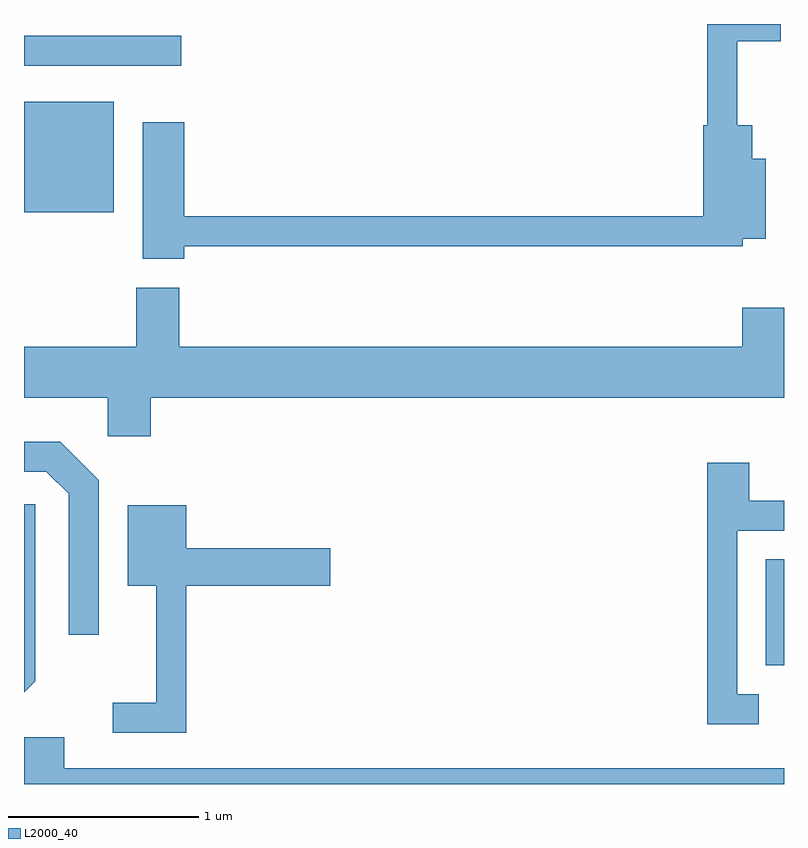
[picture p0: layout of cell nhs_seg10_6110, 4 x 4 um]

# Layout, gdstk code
import gdstk
lib = gdstk.Library(unit=1e-6, precision=1e-09)
def R(c, l, rs):  # rectangles x0, y0, x1, y1
    for r in rs: c.add(gdstk.rectangle(r[:2], r[2:], *l))
def P(c, l, *ps):  # polygons
    for p in ps: c.add(gdstk.Polygon(p, *l))
L2000_40 = (2000, 40)

nhs_seg10_6110 = lib.new_cell('nhs_seg10_6110')
R(nhs_seg10_6110, L2000_40, [(369.516,2139.146,369.611,2139.704), (365.611,2141.531,366.084,2142.114), (365.611,2142.301,366.438,2142.459)])
P(nhs_seg10_6110, L2000_40, [(366.454,2141.351),(369.394,2141.351),(369.394,2141.391),(369.514,2141.391),(369.514,2141.814),(369.444,2141.814),(369.444,2141.989),(369.364,2141.989),(369.364,2142.431),(369.593,2142.431),(369.593,2142.522),(369.206,2142.522),(369.206,2141.989),(369.186,2141.989),(369.186,2141.509),(366.454,2141.509),(366.454,2142.004),(366.236,2142.004),(366.236,2141.286),(366.454,2141.286)],
  [(366.279,2140.556),(369.611,2140.556),(369.611,2141.029),(369.391,2141.029),(369.391,2140.824),(366.429,2140.824),(366.429,2141.134),(366.201,2141.134),(366.201,2140.824),(365.611,2140.824),(365.611,2140.556),(366.051,2140.556),(366.051,2140.351),(366.279,2140.351)],
  [(366.004,2140.122),(365.802,2140.324),(365.611,2140.324),(365.611,2140.166),(365.729,2140.166),(365.846,2140.049),(365.846,2139.308),(366.004,2139.308)],
  [(369.478,2138.994),(369.364,2138.994),(369.364,2139.856),(369.611,2139.856),(369.611,2140.014),(369.429,2140.014),(369.429,2140.214),(369.206,2140.214),(369.206,2138.836),(369.478,2138.836)],
  [(365.669,2139.064),(365.669,2139.994),(365.611,2139.994),(365.611,2139.006)],
  [(366.464,2139.566),(367.224,2139.566),(367.224,2139.764),(366.464,2139.764),(366.464,2139.989),(366.156,2139.989),(366.156,2139.566),(366.306,2139.566),(366.306,2138.949),(366.078,2138.949),(366.078,2138.791),(366.464,2138.791)],
  [(369.611,2138.604),(365.824,2138.604),(365.824,2138.769),(365.611,2138.769),(365.611,2138.522),(369.611,2138.522)])

lib.write_gds('nhs_seg10_6110.gds')
